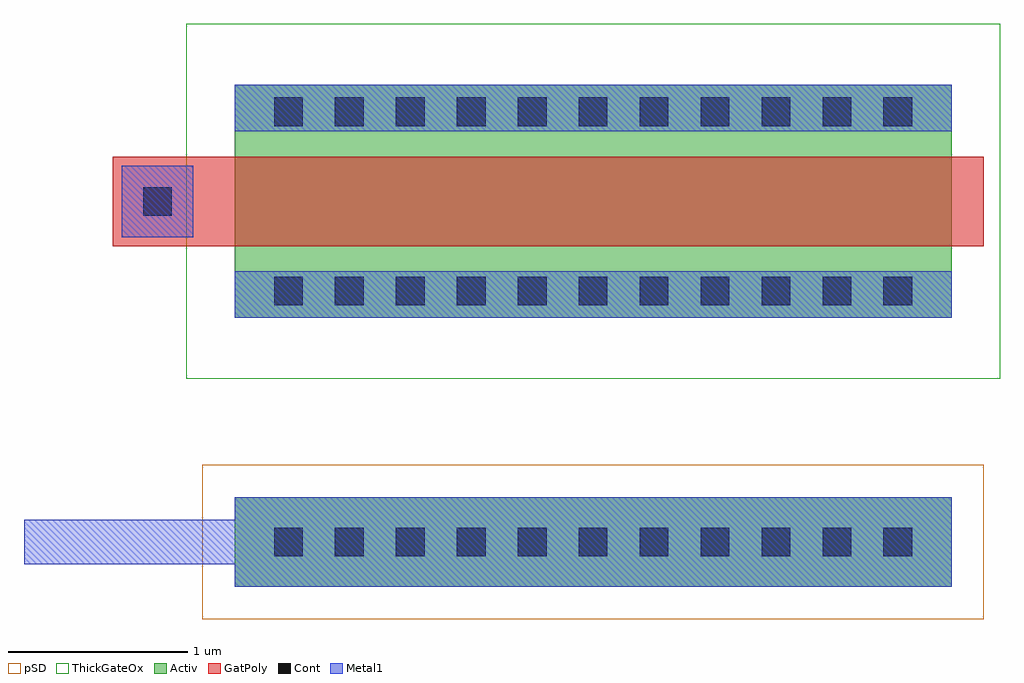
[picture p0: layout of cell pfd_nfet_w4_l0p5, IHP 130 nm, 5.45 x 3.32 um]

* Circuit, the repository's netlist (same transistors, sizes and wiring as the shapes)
* extracted by klt extract --deck sg13cmos5l

* cell pfd_nfet_w4_l0p5
* pin vsubs
.SUBCKT pfd_nfet_w4_l0p5 vsubs
* device instance $1 r0 *1 3.3,3.11 nfet
X$1 \$2 \$1 \$3 vsubs sg13_hv_nmos L=0.5U W=4U AS=1.6P AD=1.6P PS=8.8U PD=8.8U
.ENDS pfd_nfet_w4_l0p5

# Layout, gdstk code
import gdstk
lib = gdstk.Library(unit=1e-6, precision=1e-09)
def R(c, l, rs):  # rectangles x0, y0, x1, y1
    for r in rs: c.add(gdstk.rectangle(r[:2], r[2:], *l))
def A(c, l, x, y, w, h, nx, ny, dx, dy):  # array of equal rectangles
    R(c, l, [(x+i*dx, y+j*dy, x+i*dx+w, y+j*dy+h) for i in range(nx) for j in range(ny)])
Activ = (1, 0)
GatPoly = (5, 0)
Cont = (6, 0)
Metal1 = (8, 0)
pSD = (14, 0)
ThickGateOx = (44, 0)

pfd_nfet_w4_l0p5 = lib.new_cell('pfd_nfet_w4_l0p5')
R(pfd_nfet_w4_l0p5, Activ, [(1.3,0.96,5.3,1.46), (1.3,2.46,5.3,3.76)])
R(pfd_nfet_w4_l0p5, GatPoly, [(0.62,2.86,1.12,3.36), (1.12,2.86,5.48,3.36)])
A(pfd_nfet_w4_l0p5, Cont, 1.52, 1.13, 0.16, 0.16, 11, 2, 0.34, 1.4)
A(pfd_nfet_w4_l0p5, Cont, 1.52, 3.53, 0.16, 0.16, 11, 1, 0.34, 0)
R(pfd_nfet_w4_l0p5, Cont, [(0.79,3.03,0.95,3.19)])
R(pfd_nfet_w4_l0p5, Metal1, [(1.3,0.96,5.3,1.46), (0.125,1.085,1.3,1.335), (1.3,2.46,5.3,2.72), (0.67,2.91,1.07,3.31), (1.3,3.5,5.3,3.76)])
R(pfd_nfet_w4_l0p5, pSD, [(1.12,0.78,5.48,1.64)])
R(pfd_nfet_w4_l0p5, ThickGateOx, [(1.03,2.12,5.57,4.1)])

lib.write_gds('pfd_nfet_w4_l0p5.gds')
